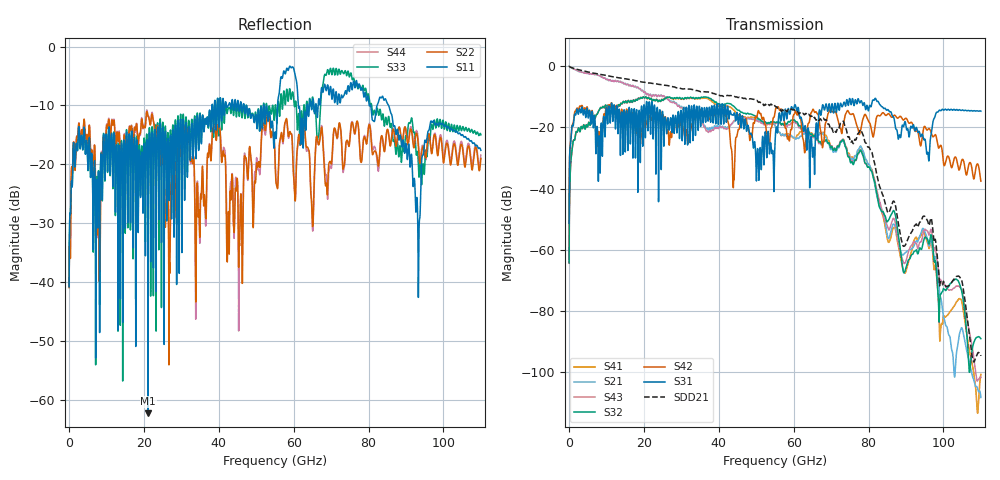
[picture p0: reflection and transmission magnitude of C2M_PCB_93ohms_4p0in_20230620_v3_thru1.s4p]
! Info: Touchstone file created by Circ.  Input file=C2M_PCB_93ohms_4p0in_20230620_v3.circ
# Hz S RI R 50
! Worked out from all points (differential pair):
!   11000 points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, 10 MHz to 110 GHz, reference 50 ohm
!   strongest paths, dB at 10 MHz, 27.51 GHz, 55.01 GHz, 82.51 GHz, 110 GHz:
!     S31: -51.4, -20.5, -25.2, -11.5, -14.8
!     S42: -51.2, -21.6, -15.1, -16.1, -37.6
!     S32: -64.3, -10.4, -18.5, -43.8, -89.0
!     S43: -0.1, -11.9, -18.8, -42.1, -101.6
!     S21: -0.1, -11.6, -19.4, -43.8, -108.1
!     S41: -64.3, -10.6, -19.6, -42.7, -100.6
!   taken as a pair (ports 3,1 in; 4,2 out), SDD21 dB: -0.1, -6.7, -13.1, -37.1, -94.6
!   lowest |S11| = -62.3 dB at 21.1 GHz (marker M1), VSWR 1.00, Z = 50.1 + j0.0386 ohm
!   |S11| at or under -10 dB: start of sweep to 38.19 GHz; 47.4 GHz to 51.94 GHz (4.539 GHz wide, 9.14 % of centre); 85.36 GHz to end of sweep (the widest 3 of 23)
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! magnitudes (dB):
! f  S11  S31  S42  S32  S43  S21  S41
! 10 MHz  -40.8  -51.4  -51.2  -64.3  -0.1  -0.1  -64.3
! 2.19 GHz  -17.6  -14.2  -13.8  -21.5  -1.5  -1.5  -21.5
! 21.1 GHz  -62.3  -19.9  -19.7  -10.4  -9.2  -9.2  -10.3
! 26.53 GHz  -16.8  -17.9  -21.9  -10.3  -11.0  -10.9  -10.3
! 78.01 GHz  -7.4  -11.3  -20.3  -27.7  -27.8  -26.4  -26.5
! 89.47 GHz  -17.2  -19.3  -17.6  -67.5  -64.4  -61.3  -67.3
! 110 GHz  -17.6  -14.8  -37.6  -89.0  -101.6  -108.1  -100.6
